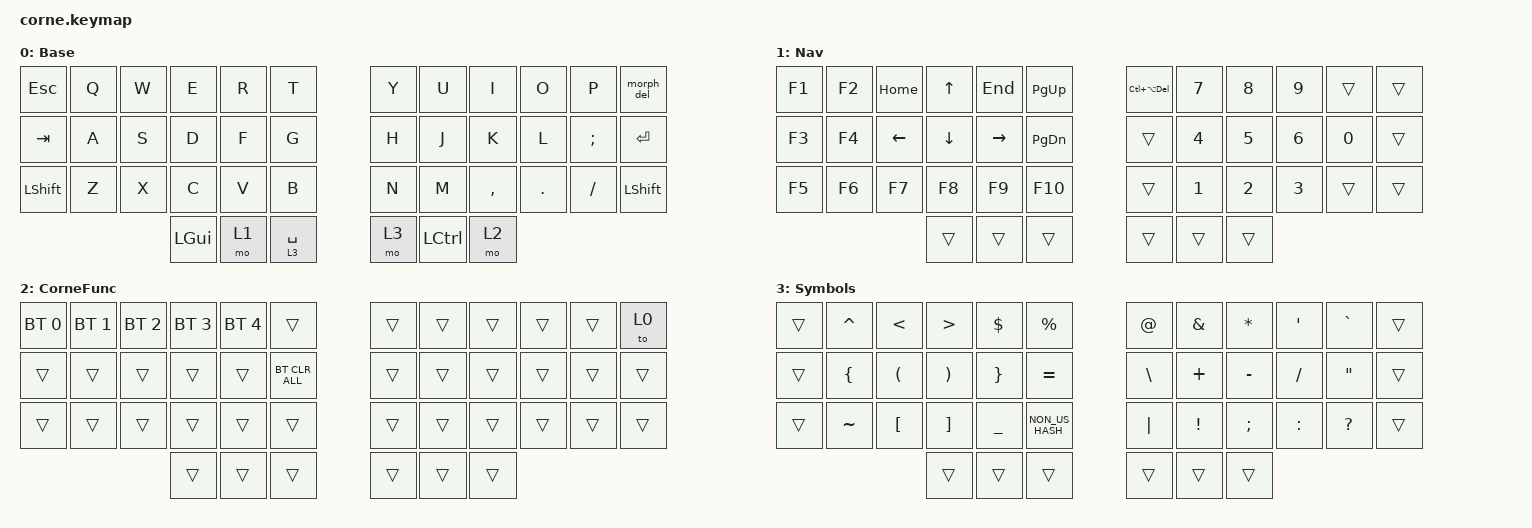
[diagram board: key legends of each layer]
/*
 * Copyright (c) 2020 The ZMK Contributors
 *
 * SPDX-License-Identifier: MIT
 */

#include <behaviors.dtsi>
#include <dt-bindings/zmk/bt.h>
#include <dt-bindings/zmk/keys.h>

/ {
    behaviors {
        bhm: balanced_homerow_mods {
            compatible = "zmk,behavior-hold-tap";
            #binding-cells = <2>;
            tapping-term-ms = <200>;    // <---[[moderate duration]]
            quick-tap-ms = <0>;
            flavor = "balanced";
            bindings = <&kp>, <&kp>;
        };
        bhm_space: bhm_space {
            compatible = "zmk,behavior-hold-tap";
            #binding-cells = <2>;
            tapping-term-ms = <150>;    // <---[[moderate duration]]
            quick-tap-ms = <0>;
            flavor = "balanced";
            bindings = <&kp>, <&kp>;
        };

        bhm_space_sym: bhm_space_sym {
            compatible = "zmk,behavior-hold-tap";
            #binding-cells = <2>;
            tapping-term-ms = <150>;
            quick-tap-ms = <0>;
            flavor = "balanced";
            bindings = <&mo>, <&kp>;  // <-- mo for hold, kp for tap
        };

        morph_del: morph_del {
            compatible = "zmk,behavior-mod-morph";
            bindings = <&kp BACKSPACE>, <&kp DEL>;

            #binding-cells = <0>;
            mods = <(MOD_RALT)>;
        };
    };

    keymap {
        compatible = "zmk,keymap";

        Base {
            bindings = <
&kp ESC    &kp Q  &kp W  &kp E         &kp R          &kp T             &kp Y          &kp U          &kp I      &kp O    &kp P     &morph_del
&kp TAB    &kp A  &kp S  &kp D  &kp F  &kp G             &kp H          &kp J  &kp K      &kp L    &kp SEMI  &kp ENTER
&kp LSHIFT  &kp Z  &kp X  &kp C         &kp V          &kp B             &kp N          &kp M          &kp COMMA  &kp DOT  &kp FSLH  &kp LSHIFT
                         &kp LEFT_GUI  &mo 1          &bhm_space_sym 3 SPACE   &mo 3  &kp LCTRL   &mo 2
            >;
        };

        Nav {
            bindings = <
&kp F1  &kp F2  &kp HOME  &kp UP    &kp END    &kp PG_UP    &kp LC(LA(DEL))  &kp N7  &kp N8  &kp N9  &trans  &trans
&kp F3  &kp F4  &kp LEFT  &kp DOWN  &kp RIGHT  &kp PG_DN    &trans  &kp N4  &kp N5  &kp N6  &kp N0  &trans
&kp F5  &kp F6  &kp F7    &kp F8    &kp F9     &kp F10      &trans  &kp N1  &kp N2  &kp N3  &trans  &trans
                          &trans    &trans     &trans       &trans  &trans  &trans
            >;
        };

        CorneFunc {
            bindings = <
&bt BT_SEL 0  &bt BT_SEL 1  &bt BT_SEL 2  &bt BT_SEL 3  &bt BT_SEL 4  &trans            &trans  &trans  &trans  &trans  &trans  &to 0
&trans        &trans        &trans        &trans        &trans        &bt BT_CLR_ALL    &trans  &trans  &trans  &trans  &trans  &trans
&trans        &trans        &trans        &trans        &trans        &trans            &trans  &trans  &trans  &trans  &trans  &trans
                                          &trans        &trans        &trans            &trans  &trans  &trans
            >;
        };

        Symbols {
            bindings = <
&trans    &kp CARET  &kp LESS_THAN  &kp GREATER_THAN         &kp DOLLAR          &kp PERCENT             &kp AT_SIGN          &kp AMPERSAND          &kp ASTERISK      &kp SINGLE_QUOTE    &kp GRAVE     &trans
&trans    &kp LEFT_BRACE  &kp LEFT_PARENTHESIS  &kp RIGHT_PARENTHESIS  &kp RIGHT_BRACE  &kp EQUAL             &kp BACKSLASH          &kp PLUS  &kp MINUS      &kp SLASH    &kp DOUBLE_QUOTES  &trans
&trans  &kp TILDE  &kp LEFT_BRACKET  &kp RIGHT_BRACKET         &kp UNDERSCORE          &kp NON_US_HASH             &kp PIPE          &kp EXCLAMATION          &kp SEMICOLON  &kp COLON  &kp QUESTION  &trans
                         &trans &trans &trans   &trans &trans &trans
            >;
        };

//        Gaming {
//            bindings = <
//&kp ESC  &kp N1      &kp Q  &kp T         &kp D         &kp J        &kp Y          &kp U         &kp I      &kp O    &kp P     &kp BACKSPACE
//&kp TAB  &kp LSHIFT  &kp A  &kp S         &kp I         &kp G        &kp H          &kp J         &kp K      &kp L    &kp SEMI  &kp ENTER
//&kp LT   &kp LCTRL   &kp Z  &kp X         &kp W         &kp V        &kp N          &kp M         &kp COMMA  &kp DOT  &kp FSLH  &kp LCTRL
//                            &kp LEFT_GUI  &kp LEFT_ALT  &kp SPACE    &kp RIGHT_ALT  &kp LEFT_ALT  &mo 2
//            >;
//        };
    };
};
